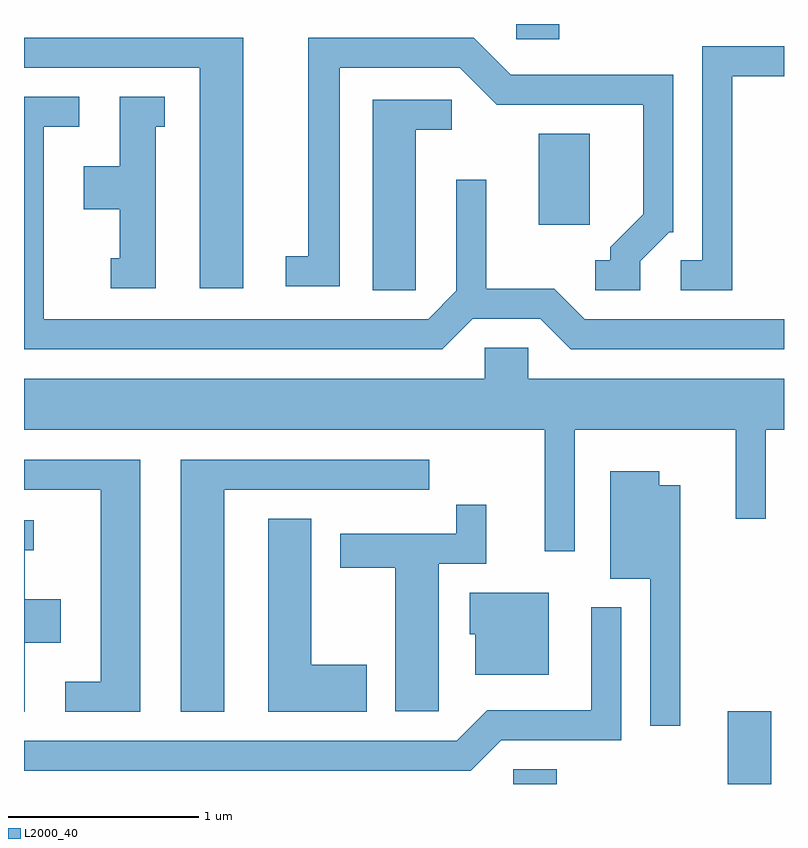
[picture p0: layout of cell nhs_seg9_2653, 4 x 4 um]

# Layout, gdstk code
import gdstk
lib = gdstk.Library(unit=1e-6, precision=1e-09)
def R(c, l, rs):  # rectangles x0, y0, x1, y1
    for r in rs: c.add(gdstk.rectangle(r[:2], r[2:], *l))
def P(c, l, *ps):  # polygons
    for p in ps: c.add(gdstk.Polygon(p, *l))
L2000_40 = (2000, 40)

nhs_seg9_2653 = lib.new_cell('nhs_seg9_2653')
R(nhs_seg9_2653, L2000_40, [(266.186,1954.432,266.414,1954.509), (267.316,1954.432,267.544,1954.814), (266.321,1957.376,266.589,1957.854), (266.201,1958.351,266.429,1958.432)])
P(nhs_seg9_2653, L2000_40, [(266.854,1957.184),(267.007,1957.336),(267.029,1957.336),(267.029,1958.164),(266.172,1958.164),(265.977,1958.359),(265.106,1958.359),(265.106,1957.209),(264.988,1957.209),(264.988,1957.051),(265.274,1957.051),(265.274,1958.201),(265.904,1958.201),(266.099,1958.006),(266.871,1958.006),(266.871,1957.432),(266.696,1957.257),(266.696,1957.189),(266.618,1957.189),(266.618,1957.031),(266.854,1957.031)],
  [(264.764,1958.359),(263.611,1958.359),(263.611,1958.201),(264.536,1958.201),(264.536,1957.041),(264.764,1957.041)],
  [(267.339,1958.156),(267.611,1958.156),(267.611,1958.314),(267.181,1958.314),(267.181,1957.189),(267.068,1957.189),(267.068,1957.031),(267.339,1957.031)],
  [(264.304,1957.891),(264.353,1957.891),(264.353,1958.049),(264.116,1958.049),(264.116,1957.684),(263.926,1957.684),(263.926,1957.456),(264.116,1957.456),(264.116,1957.199),(264.068,1957.199),(264.068,1957.041),(264.304,1957.041)],
  [(265.972,1956.881),(266.329,1956.881),(266.489,1956.721),(267.611,1956.721),(267.611,1956.879),(266.562,1956.879),(266.402,1957.039),(266.044,1957.039),(266.044,1957.613),(265.886,1957.613),(265.886,1957.027),(265.739,1956.879),(263.714,1956.879),(263.714,1957.891),(263.903,1957.891),(263.903,1958.049),(263.611,1958.049),(263.611,1956.721),(265.812,1956.721)],
  [(265.674,1957.876),(265.863,1957.876),(265.863,1958.034),(265.446,1958.034),(265.446,1957.031),(265.674,1957.031)],
  [(266.509,1956.296),(267.356,1956.296),(267.356,1955.828),(267.514,1955.828),(267.514,1956.296),(267.611,1956.296),(267.611,1956.564),(266.264,1956.564),(266.264,1956.729),(266.036,1956.729),(266.036,1956.564),(263.611,1956.564),(263.611,1956.296),(266.351,1956.296),(266.351,1955.658),(266.509,1955.658)],
  [(264.224,1956.139),(263.611,1956.139),(263.611,1955.981),(264.016,1955.981),(264.016,1954.969),(263.828,1954.969),(263.828,1954.811),(264.224,1954.811)],
  [(264.664,1955.981),(265.743,1955.981),(265.743,1956.139),(264.436,1956.139),(264.436,1954.811),(264.664,1954.811)],
  [(267.064,1956.004),(266.954,1956.004),(266.954,1956.079),(266.696,1956.079),(266.696,1955.511),(266.906,1955.511),(266.906,1954.738),(267.064,1954.738)],
  [(265.794,1955.591),(266.044,1955.591),(266.044,1955.903),(265.886,1955.903),(265.886,1955.749),(265.276,1955.749),(265.276,1955.571),(265.566,1955.571),(265.566,1954.816),(265.794,1954.816)],
  [(265.414,1955.059),(265.124,1955.059),(265.124,1955.829),(264.896,1955.829),(264.896,1954.811),(265.414,1954.811)],
  [(263.614,1955.176),(263.804,1955.176),(263.804,1955.404),(263.614,1955.404),(263.614,1955.661),(263.663,1955.661),(263.663,1955.819),(263.611,1955.819),(263.611,1954.811),(263.614,1954.811)],
  [(266.374,1955.439),(265.956,1955.439),(265.956,1955.221),(265.986,1955.221),(265.986,1955.006),(266.374,1955.006)],
  [(266.122,1954.661),(266.754,1954.661),(266.754,1955.363),(266.596,1955.363),(266.596,1954.819),(266.049,1954.819),(265.889,1954.659),(263.611,1954.659),(263.611,1954.501),(265.962,1954.501)])

lib.write_gds('nhs_seg9_2653.gds')
